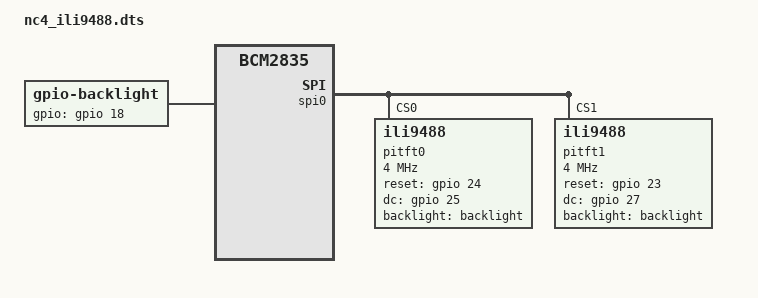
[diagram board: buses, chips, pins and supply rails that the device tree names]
/********************************************************************************
 * nc4_ili9488.dts
 *
 * Device Tree Overlay for two ILI9488 panels on Raspberry Pi's SPI0 bus.
 * - Disables spidev0 (CE0) and spidev1 (CE1) unless needed for spidev.
 * - Creates two SPI child nodes, pitft0@0 (CE0) and pitft1@1 (CE1).
 * - Gathers all GPIO lines (RESET, DC, Backlight) into a single pinctrl node
 *   labeled "spi0_aux_pins" under &gpio.
 * - Then references that label in the parent SPI0 node so the Pi firmware
 *   merges them properly.
 *
 * Usage:
 *   dtoverlay=nc4_ili9488
 ********************************************************************************/

 /dts-v1/;
/plugin/;

/ {
	compatible = "brcm,bcm2835";

	/****************************************************************************
	 * Fragment 0: Enable SPI0 hardware
	 ****************************************************************************/
	fragment@0 {
		target = <&spi0>;
		__overlay__ {
			status = "okay";
		};
	};

	/****************************************************************************
	 * Fragment 1: Disable spidev0 (on CE0)
	 ****************************************************************************/
	fragment@1 {
		target = <&spidev0>;
		__overlay__ {
			status = "disabled";
		};
	};

	/****************************************************************************
	 * Fragment 2: Disable spidev1 (on CE1)
	 ****************************************************************************/
	fragment@2 {
		target = <&spidev1>;
		__overlay__ {
			status = "disabled";
		};
	};

	/****************************************************************************
	 * Fragment 3: Define a single pin group node for SPI0's auxiliary lines:
	 *             DC, RESET for both panels, plus the backlight pin.
	 *
	 *   GPIO24,25 => first panel (pitft0)
	 *   GPIO23,27 => second panel (pitft1)
	 *   GPIO18    => shared backlight
	 * 
	 * We give it a LABEL: 'spi0_aux_pins:'
	 ****************************************************************************/
	fragment@3 {
		target = <&gpio>;
		__overlay__ {
			spi0_aux_pins: spi0_aux_pins {
				brcm,pins = <18 23 24 25 27>;
				brcm,function = <1 1 1 1 1>; /* set all as output */
			};
		};
	};

	/****************************************************************************
	 * Fragment 4: Attach the 'spi0_aux_pins' label to the SPI0 node by referencing
	 *             it in pinctrl-0.
	 ****************************************************************************/
	fragment@4 {
		target = <&spi0>;
		__overlay__ {
			pinctrl-names = "default";
			pinctrl-0 = <&spi0_aux_pins>;
			/* status already set to "okay" in fragment@0 */
		};
	};

	/****************************************************************************
	 * Fragment 5: FIRST ILI9488 device node on SPI0 CE0 (pitft0@0)
	 ****************************************************************************/
	fragment@5 {
		target = <&spi0>;
		__overlay__ {
			#address-cells = <1>;
			#size-cells = <0>;

			pitft0: pitft0@0 {
				compatible = "ili9488";
				reg = <0>; /* CE0 line */
				spi-max-frequency = <4000000>;
				rotation = <0>;

				/* First panel's RESET/DC lines */
				reset-gpios = <&gpio 24 0>;
				dc-gpios    = <&gpio 25 0>;

				/* Shared backlight on GPIO18 */
				backlight = <&backlight>;
			};
		};
	};

	/****************************************************************************
	 * Fragment 6: SECOND ILI9488 device node on SPI0 CE1 (pitft1@1)
	 ****************************************************************************/
	fragment@6 {
		target = <&spi0>;
		__overlay__ {
			pitft1: pitft1@1 {
				compatible = "ili9488";
				reg = <1>; /* CE1 line */
				spi-max-frequency = <4000000>;
				rotation = <0>;

				/* Second panel's RESET/DC lines */
				reset-gpios = <&gpio 23 0>;
				dc-gpios    = <&gpio 27 0>;

				backlight = <&backlight>;
			};
		};
	};

	/****************************************************************************
	 * Fragment 7: Shared backlight control on GPIO18
	 ****************************************************************************/
	fragment@7 {
		target-path = "/soc";
		__overlay__ {
			backlight: backlight {
				compatible = "gpio-backlight";
				gpios = <&gpio 18 0>;
			};
		};
	};

	/****************************************************************************
	 * Overridable parameters for speed and rotation
	 ****************************************************************************/
	__overrides__ {
		speed = <&pitft0>,"spi-max-frequency:0",
		         <&pitft1>,"spi-max-frequency:0";
		rotation = <&pitft0>,"rotation:0",
		            <&pitft1>,"rotation:0";
	};
};
